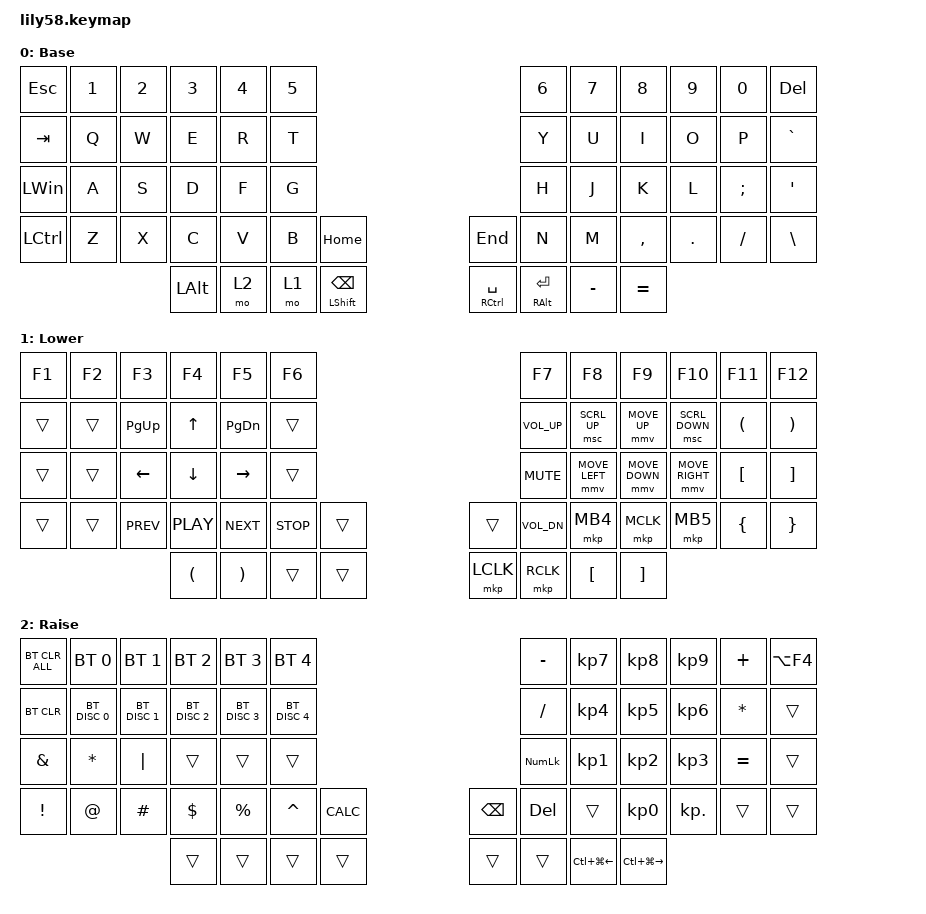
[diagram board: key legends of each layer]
/*
 * Copyright (c) 2020 The ZMK Contributors
 *
 * SPDX-License-Identifier: MIT
 */

#define ZMK_MOUSE_DEFAULT_MOVE_VAL 1500  // 600
#define ZMK_MOUSE_DEFAULT_SCRL_VAL 20    // 10

#include <behaviors.dtsi>
#include <dt-bindings/zmk/bt.h>
#include <dt-bindings/zmk/keys.h>
#include <dt-bindings/zmk/mouse.h>

&mmv {
    acceleration-exponent = <1>;      // 1
    time-to-max-speed-ms = <500>;     // 300
    delay-ms = <0>;                   // 0
};

&msc {
    acceleration-exponent = <1>;      // 0
    time-to-max-speed-ms = <40>;      // 300
    delay-ms = <0>;                   // 0
};

/ {
    behaviors {
        backspace_hold_tap: backspace_hold_tap {
            compatible = "zmk,behavior-hold-tap";
            bindings = <&kp>, <&kp>;

            #binding-cells = <2>;
            tapping-term-ms = <200>;
            quick-tap-ms = <650>;
            flavor = "tap-preferred";
        };
    };

    combos {
        compatible = "zmk,combos";

        DeleteCombo {
            bindings = <&kp DELETE>;
            key-positions = <14 15 16>;
        };
    };

    keymap {
        compatible = "zmk,keymap";

        default_layer {
            // ------------------------------------------------------------------------------------------------------------
            // |  ESC  |  1  |  2  |  3   |  4   |  5   |                   |  6   |  7    |  8    |  9   |   0   |   `   |
            // |  TAB  |  Q  |  W  |  E   |  R   |  T   |                   |  Y   |  U    |  I    |  O   |   P   |   -   |
            // |  CTRL |  A  |  S  |  D   |  F   |  G   |                   |  H   |  J    |  K    |  L   |   ;   |   '   |
            // | SHIFT |  Z  |  X  |  C   |  V   |  B   |   "["  |  |  "]"  |  N   |  M    |  ,    |  .   |   /   | SHIFT |
            //                     | ALT  | GUI  | LOWER|  SPACE |  | ENTER | RAISE| BSPC  | GUI   |

            display-name = "Base";
            bindings = <
&kp ESC           &kp N1  &kp N2  &kp N3    &kp N4  &kp N5                                                                                       &kp N6                               &kp N7     &kp N8     &kp N9   &kp N0     &kp DELETE
&kp TAB           &kp Q   &kp W   &kp E     &kp R   &kp T                                                                                        &kp Y                                &kp U      &kp I      &kp O    &kp P      &kp GRAVE
&kp LEFT_WIN      &kp A   &kp S   &kp D     &kp F   &kp G                                                                                        &kp H                                &kp J      &kp K      &kp L    &kp SEMI   &kp SQT
&kp LEFT_CONTROL  &kp Z   &kp X   &kp C     &kp V   &kp B   &kp HOME                                    &kp END                                  &kp N                                &kp M      &kp COMMA  &kp DOT  &kp SLASH  &kp BACKSLASH
                                  &kp LALT  &mo 2   &mo 1   &backspace_hold_tap LEFT_SHIFT BACKSPACE    &backspace_hold_tap RIGHT_CONTROL SPACE  &backspace_hold_tap RIGHT_ALT ENTER  &kp MINUS  &kp EQUAL
            >;
        };

        lower_layer {
            // ------------------------------------------------------------------------------------------------------------
            // | BTCLR | BT1 | BT2 |  BT3 |  BT4 |  BT5 |                   |      |       |       |      |       |       |
            // |  F1   |  F2 |  F3 |  F4  |  F5  |  F6  |                   |  F7  |  F8   |  F9   |  F10 |  F11  |  F12  |
            // |   `   |  !  |  @  |  #   |  $   |  %   |                   |  ^   |  &    |  *    |  (   |   )   |   ~   |
            // |       |     |     |      |      |      |        |  |       |      |  _    |  +    |  {   |   }   |  "|"  |
            //                     |      |      |      |        |  |       |      |       |       |

            display-name = "Lower";
            bindings = <
&kp F1  &kp F2  &kp F3       &kp F4                &kp F5                 &kp F6                           &kp F7           &kp F8            &kp F9             &kp F10          &kp F11               &kp F12
&trans  &trans  &kp PAGE_UP  &kp UP_ARROW          &kp PAGE_DOWN          &trans                           &kp C_VOLUME_UP  &msc SCRL_UP      &mmv MOVE_UP       &msc SCRL_DOWN   &kp LEFT_PARENTHESIS  &kp RIGHT_PARENTHESIS
&trans  &trans  &kp LEFT     &kp DOWN_ARROW        &kp RIGHT              &trans                           &kp C_MUTE       &mmv MOVE_LEFT    &mmv MOVE_DOWN     &mmv MOVE_RIGHT  &kp LEFT_BRACKET      &kp RIGHT_BRACKET
&trans  &trans  &kp C_PREV   &kp C_PLAY            &kp C_NEXT             &kp C_STOP  &trans    &trans     &kp C_VOL_DN     &mkp MB4          &mkp MCLK          &mkp MB5         &kp LEFT_BRACE        &kp RIGHT_BRACE
                             &kp LEFT_PARENTHESIS  &kp RIGHT_PARENTHESIS  &trans      &trans    &mkp LCLK  &mkp RCLK        &kp LEFT_BRACKET  &kp RIGHT_BRACKET
            >;
        };

        raise_layer {
            // ------------------------------------------------------------------------------------------------------------
            // |       |     |     |      |      |      |                   |      |       |       |      |       |       |
            // |   `   |  1  |  2  |  3   |  4   |  5   |                   |  6   |   7   |   8   |  9   |   0   |       |
            // |   F1  |  F2 |  F3 |  F4  |  F5  |  F6  |                   |      |   <-  |   v   |  ^   |  ->   |       |
            // |   F7  |  F8 |  F9 |  F10 |  F11 |  F12 |        |  |       |  +   |   -   |   =   |  [   |   ]   |   \   |
            //                     |      |      |      |        |  |       |      |       |       |

            display-name = "Raise";
            bindings = <
&bt BT_CLR_ALL  &bt BT_SEL 0   &bt BT_SEL 1   &bt BT_SEL 2   &bt BT_SEL 3   &bt BT_SEL 4                                &kp MINUS   &kp KP_N7         &kp KP_N8          &kp KP_NUMBER_9  &kp PLUS   &kp LA(F4)
&bt BT_CLR      &bt BT_DISC 0  &bt BT_DISC 1  &bt BT_DISC 2  &bt BT_DISC 3  &bt BT_DISC 4                               &kp SLASH   &kp KP_NUMBER_4   &kp KP_NUMBER_5    &kp KP_NUMBER_6  &kp STAR   &trans
&kp AMPS        &kp STAR       &kp PIPE       &trans         &trans         &trans                                      &kp KP_NUM  &kp KP_NUMBER_1   &kp KP_N2          &kp KP_N3        &kp EQUAL  &trans
&kp EXCL        &kp AT         &kp HASH       &kp DLLR       &kp PRCNT      &kp CARET      &kp K_CALC    &kp BACKSPACE  &kp DELETE  &trans            &kp KP_NUMBER_0    &kp KP_DOT       &trans     &trans
                                              &trans         &trans         &trans         &trans        &trans         &trans      &kp LC(LG(LEFT))  &kp LC(LG(RIGHT))
            >;
        };
    };
};
